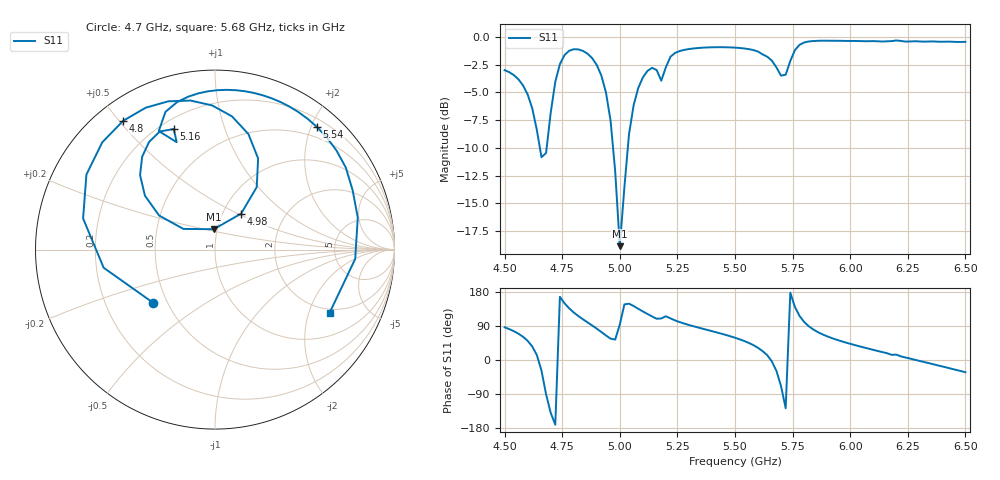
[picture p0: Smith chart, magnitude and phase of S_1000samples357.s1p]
! TOUCHSTONE file generated by CST MICROWAVE STUDIO
! Date and time: Thu Oct 27 21:37:31 2022
! Project name: L.cst
! Parameters = {Di=1.27; Epsilon_r=1.56; InnerDiameter=1.27; Length=2; Lf=10; Lg=60; OuterConductorThickness=0.2921; OuterDiameter=3.6; Wf=3; Wp=41.2; de=1.5; df=6.8; g=0.8; gx=0.439293; gy=1.99727; h=2.34; hf=1.524; px=13.9214; py=9.38487; w=9.7; wx=13.4821; wy=7.3876}
! Header version: 2018
! Port assignment regex: !\s*Touchstone port\s*([0-9]+)\s*=\s*(CST MWS port|CST DS port)\s*([0-9]+|Zmin|Zmax)\s*\(\"(.*)\"\)(\s*mode\s*([0-9]+))?.*
! Touchstone port assignment:
! Touchstone port 1 = CST MWS port 1 ("")
# GHz S DB R 50
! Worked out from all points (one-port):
!   101 points, 4.5 GHz to 6.5 GHz, reference 50 ohm
!   lowest |S11| = -18.9 dB at 5 GHz (marker M1), VSWR 1.26, Z = 48.1 + j11.1 ohm
!   |S11| at or under -10 dB: 4.653 GHz to 4.683 GHz (29.42 MHz wide, 0.63 % of centre); 4.971 GHz to 5.035 GHz (64.13 MHz wide, 1.28 % of centre)
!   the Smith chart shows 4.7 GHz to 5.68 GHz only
!   S11 on the Smith chart (normalised r, x): 4.7 GHz: 0.42, -0.31; 4.8 GHz: 0.08, +0.51; 4.98 GHz: 1.22, +0.52; 5.16 GHz: 0.25, +0.68; 5.54 GHz: 0.32, +2.10; 5.68 GHz: 1.83, -2.76
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4.5  -2.98 86.3
4.58  -4.36 61.2
4.64  -8.39 12.9
4.68  -10.46 -90.4
4.7  -6.85 -139.3
4.72  -4.03 -170.8
4.76  -1.62 149.7
4.8  -1.10 125.5
4.88  -1.90 91.1
4.94  -5.01 64.7
4.98  -12.12 54.0
5  -18.87 93.5
5.06  -6.15 142.4
5.16  -2.98 108.8
5.26  -1.26 100.0
5.5  -0.95 58.8
5.54  -1.03 50.1
5.62  -1.57 23.3
5.68  -2.74 -28.9
5.7  -3.48 -69.5
5.72  -3.39 -127.4
5.74  -2.16 177.5
5.76  -1.17 140.1
5.78  -0.70 116.4
5.82  -0.40 89.1
6  -0.35 42.7
6.26  -0.40 3.8
6.5  -0.43 -32.3
